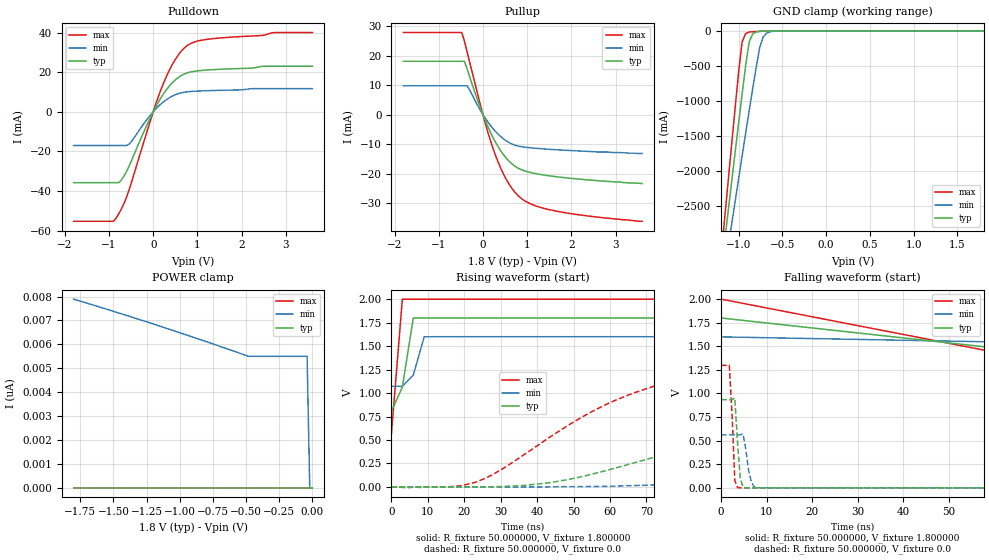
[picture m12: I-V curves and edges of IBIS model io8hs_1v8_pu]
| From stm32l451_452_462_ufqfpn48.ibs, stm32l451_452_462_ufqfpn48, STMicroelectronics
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|   Model io8hs_1v8_pu
[Model]  io8hs_1v8_pu
Model_type I/O
Polarity   Non-Inverting
Enable   Active-Low
Vinl =   0.540000V
Vinh =   1.260000V
Vmeas =  0.900000V
Cref =   100.000000nF
Rref =   1.000000k
Vref =   1.800000V
C_comp   2.197300pF   2.162700pF   2.264100pF
[Temperature Range]   25.000000   0.125000k   -40.000000
[Pullup Reference]   1.800000V   1.600000V   2.000000V
[Pulldown Reference]   0.0V   0.0V   0.0V
[POWER Clamp Reference]   1.800000V   1.600000V   2.000000V
[GND Clamp Reference]   0.0V   0.0V   0.0V
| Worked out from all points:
|   slope of the pulldown table from 0 to 0.27 V, typ, clamps not added: 26.2 ohm
|   slope of the pullup table from 0 to 0.27 V, typ, clamps not added: 30.1 ohm
|   GND clamp passes 1 mA (typ) near -0.58 V on its own axis
|   rising waveform, R_fixture 50.000000, V_fixture 1.800000: 20-80 % time 2.89ns typ, 2.56ns min, 1.8ns max; typ from 0.804 V to 1.8 V
|   rising waveform, R_fixture 50.000000, V_fixture 0.0: 20-80 % time 64.8ns typ, 104ns min, 36.2ns max; typ from 0 V to 0.934 V
|   falling waveform, R_fixture 50.000000, V_fixture 1.800000: 20-80 % time 116ns typ, 164ns min, 92ns max; typ from 1.8 V to 0.804 V
|   falling waveform, R_fixture 50.000000, V_fixture 0.0: 20-80 % time 808ps typ, 1.12ns min, 746ps max; typ from 0.934 V to 0 V
[Pulldown]
|Voltage   I(typ)   I(min)   I(max)
-1.8V     -35.82mA   -17.03mA   -55.34mA
-900mV    -35.82mA   -17.03mA   -55.34mA
-840mV    -35.82mA   -17.03mA   -53.76mA
-720mV    -34.49mA   -17.03mA   -49.08mA
-540mV    -27.18mA   -16.22mA   -39.07mA
-60mV     -2.756mA   -1.584mA   -4.227mA
240mV     9.353mA    5.171mA    14.85mA
480mV     15.75mA    8.427mA    25.77mA
720mV     19.29mA    9.947mA    32.62mA
960mV     20.57mA    10.43mA    35.5mA
1.32V     21.27mA    10.74mA    36.91mA
3.6V      23.03mA    11.73mA    40.05mA
[Pullup]
|Voltage   I(typ)   I(min)   I(max)
-1.8V     18.05mA    9.741mA    27.78mA
-480mV    18.05mA    9.741mA    27.78mA
-420mV    18.05mA    9.741mA    25.03mA
-360mV    15.57mA    9.741mA    21.38mA
60mV      -2.268mA   -1.401mA   -3.341mA
240mV     -8.143mA   -5.004mA   -12mA
360mV     -11.31mA   -6.914mA   -16.72mA
540mV     -15mA      -9.056mA   -22.31mA
840mV     -18.52mA   -10.83mA   -28.11mA
1.14V     -19.87mA   -11.38mA   -30.67mA
1.68V     -21.13mA   -11.96mA   -32.81mA
3.6V      -23.4mA    -13.2mA    -36.2mA
[GND_clamp]
|Voltage   I(typ)   I(min)   I(max)
-1.8V     -9.861A    -8.8A      -9.626A
-1.16V    -3.004A    -3.417A    -2.68A
-1.12V    -2.579A    -3.088A    -2.15A
-1.08V    -2.155A    -2.76A     -1.623A
-1V       -1.315A    -2.108A    -586.3mA
-960mV    -900.6mA   -1.784A    -158.3mA
-920mV    -496.8mA   -1.462A    -39.39mA
-880mV    -160.5mA   -1.144A    -17.82mA
-840mV    -45.92mA   -830.3mA   -12.52mA
-760mV    -8.262mA   -243mA     -7.547mA
-680mV    -3.389mA   -33.05mA   -3.833mA
1.8V      0A         0A         0A
[POWER_clamp]
|Voltage   I(typ)   I(min)   I(max)
-1.8V     0A         7.891nA    0A
-1.14V    0A         6.744nA    0A
-480mV    0A         5.5nA      0A
-40mV     0A         5.5nA      0A
-20mV     0A         0A         0A
0V        0A         0A         0A
[Ramp]
| variable   typ   min   max
dV/dt_r  0.56066/65.10411n   0.33689/0.11591u   0.77868/36.15625n
dV/dt_f  0.59736/66.12115n   0.31662/0.11582u   0.86072/35.01231n
R_load = 50.000000
[Rising Waveform]
R_fixture= 50.000000
V_fixture= 1.800000
V_fixture_min= 1.600000
V_fixture_max= 2.000000
|time   V(typ)   V(min)   V(max)
0s        804.4mV    1.072V     565.5mV
3.003ns   1.063V     1.072V     1.998V
6.006ns   1.799V     1.191V     2V
9.009ns   1.8V       1.599V     2V
297.3ns   1.8V       1.6V       2V
[Rising Waveform]
R_fixture= 50.000000
V_fixture= 0.0
V_fixture_min= 0.0
V_fixture_max= 0.0
|time   V(typ)   V(min)   V(max)
0s        2.064nV    42.97nV    1.55nV
23.42ns   438.5uV    -34.28uV   54.81mV
43.24ns   44.83mV    999.1uV    524.4mV
61.26ns   199.9mV    9.048mV    920mV
76.88ns   366.4mV    29.79mV    1.123V
91.89ns   517mV      65.46mV    1.214V
121.9ns   732.6mV    173.7mV    1.276V
156.8ns   854.3mV    302.9mV    1.292V
224ns     923.9mV    479.8mV    1.298V
299.1ns   934.4mV    561.5mV    1.298V
[Falling Waveform]
R_fixture= 50.000000
V_fixture= 1.800000
V_fixture_min= 1.600000
V_fixture_max= 2.000000
|time   V(typ)   V(min)   V(max)
0s        1.8V       1.6V       2V
150.2ns   1.008V     1.466V     594.5mV
300.3ns   817.6mV    1.137V     566.2mV
450.5ns   805.6mV    1.084V     565.5mV
750.8ns   804.4mV    1.073V     565.5mV
14.86us   804.4mV    1.072V     565.5mV
[Falling Waveform]
R_fixture= 50.000000
V_fixture= 0.0
V_fixture_min= 0.0
V_fixture_max= 0.0
|time   V(typ)   V(min)   V(max)
0s        934.4mV    561.5mV    1.298V
1.802ns   934.6mV    561.5mV    1.3V
2.402ns   934.5mV    561.5mV    772.3mV
3.003ns   952.8mV    561.7mV    78.1mV
3.604ns   478.8mV    561.7mV    4.018mV
4.204ns   104.1mV    561.4mV    1.327mV
4.805ns   5.772mV    574.5mV    885.1uV
6.607ns   524.2uV    69.78mV    483.8uV
7.808ns   310.3uV    1.813mV    360uV
299.1ns   2.064nV    42.97nV    1.55nV
